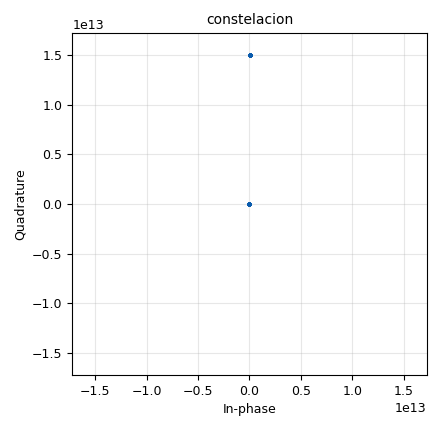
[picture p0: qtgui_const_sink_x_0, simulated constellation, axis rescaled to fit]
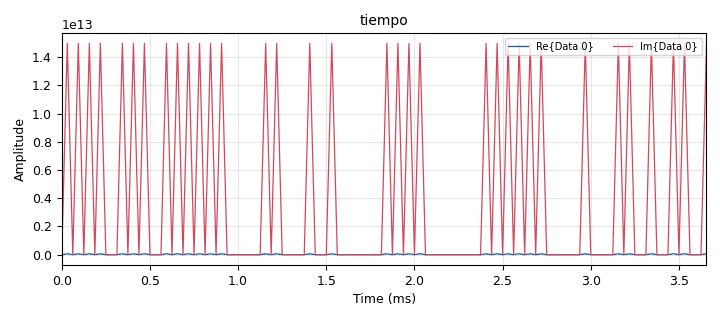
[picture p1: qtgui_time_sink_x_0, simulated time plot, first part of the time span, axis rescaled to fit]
options:
  parameters:
    author: Juan Gerez Jimenez
    generate_options: qt_gui
    id: ASK
    output_language: python
    title: Not titled yet
  states: {}

blocks:
- name: samp_rate
  id: variable
  parameters:
    value: '32000'
  states: {}
- name: analog_random_source_x_0
  id: analog_random_source_x
  parameters:
    max: '2'
    min: '0'
    num_samps: '1000'
    repeat: 'True'
    type: byte
  states: {}
- name: blocks_multiply_const_vxx_0
  id: blocks_multiply_const_vxx
  parameters:
    const: '1'
    type: complex
  states: {}
- name: blocks_throttle2_0
  id: blocks_throttle2
  parameters:
    samples_per_second: samp_rate
    type: byte
  states: {}
- name: channels_channel_model_0
  id: channels_channel_model
  parameters:
    epsilon: '1.0'
    freq_offset: '0.0'
    noise_voltage: '0.05'
    seed: '0'
    taps: '[1.0]'
  states: {}
- name: digital_chunks_to_symbols_xx_0
  id: digital_chunks_to_symbols_xx
  parameters:
    dimension: '2'
    in_type: byte
    out_type: complex
    symbol_table: '[0, 1]'
  states: {}
- name: qtgui_const_sink_x_0
  id: qtgui_const_sink_x
  parameters:
    name: '"constelacion"'
    size: '1024'
    type: complex
  states: {}
- name: qtgui_time_sink_x_0
  id: qtgui_time_sink_x
  parameters:
    entags: 'False'
    name: '"tiempo"'
    size: '1024'
    srate: samp_rate
    type: complex
  states: {}

connections:
- [analog_random_source_x_0, '0', blocks_throttle2_0, '0']
- [blocks_multiply_const_vxx_0, '0', channels_channel_model_0, '0']
- [blocks_throttle2_0, '0', digital_chunks_to_symbols_xx_0, '0']
- [channels_channel_model_0, '0', qtgui_const_sink_x_0, '0']
- [channels_channel_model_0, '0', qtgui_time_sink_x_0, '0']
- [digital_chunks_to_symbols_xx_0, '0', blocks_multiply_const_vxx_0, '0']

metadata:
  file_format: 1
  grc_version: 3.10.10.0
